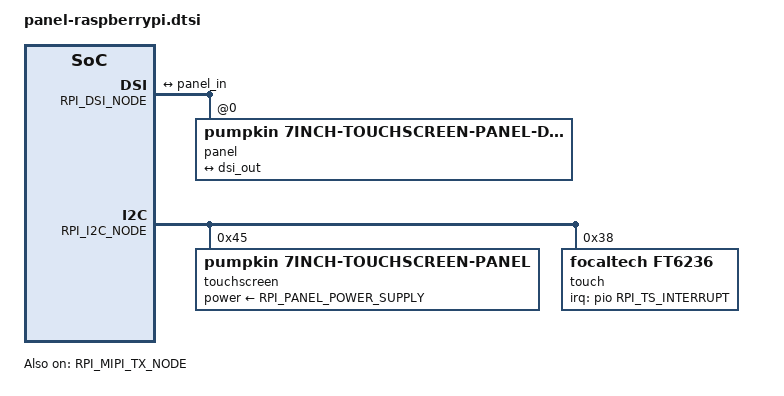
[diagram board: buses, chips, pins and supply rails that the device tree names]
#include "dt-bindings/interrupt-controller/irq.h"

/ {
	fragment@0 {
		target = <&RPI_DSI_NODE>;
		__overlay__ {
			status = "okay";
			#address-cells = <1>;
			#size-cells = <0>;

			ports {
				port@0 {
					reg = <0>;

					dsi_out: endpoint {
						remote-endpoint = <&panel_in>;
					};
				};
			};

			panel@0 {
				compatible = "pumpkin,7inch-touchscreen-panel-dsi";
				reg = <0>;
				pumpkin,touchscreen = <&touchscreen>;

				port {
					panel_in: endpoint {
						remote-endpoint = <&dsi_out>;
					};
				};
			};
		};
	};

	fragment@1 {
		target = <&RPI_I2C_NODE>;
		__overlay__ {
			status = "okay";

			touchscreen: touchscreen@0 {
				compatible = "pumpkin,7inch-touchscreen-panel";
				reg = <0x45>;
				status = "okay";
				pinctrl-0 = <&panel_pins>;
				pinctrl-names = "default";
				power-supply = <&RPI_PANEL_POWER_SUPPLY>;
			};

#if !defined(RPI_DISABLE_TS)
			touch: ft5x06@38 {
				compatible = "focaltech,ft6236";
				reg = <0x38>;
				status = "okay";
				pinctrl-0 = <&ts_pins>;
				pinctrl-names = "default";
				interrupt-parent = <&pio>;
				interrupts = <RPI_TS_INTERRUPT IRQ_TYPE_EDGE_FALLING>;
				touchscreen-size-y = <480>;
				touchscreen-size-x = <800>;
				touchscreen-inverted-y = <1>;
				touchscreen-inverted-x = <1>;
			};
#endif
		};
	};

	fragment@2 {
		target = <&RPI_MIPI_TX_NODE>;
		__overlay__ {
			status = "okay";
		};
	};
};

